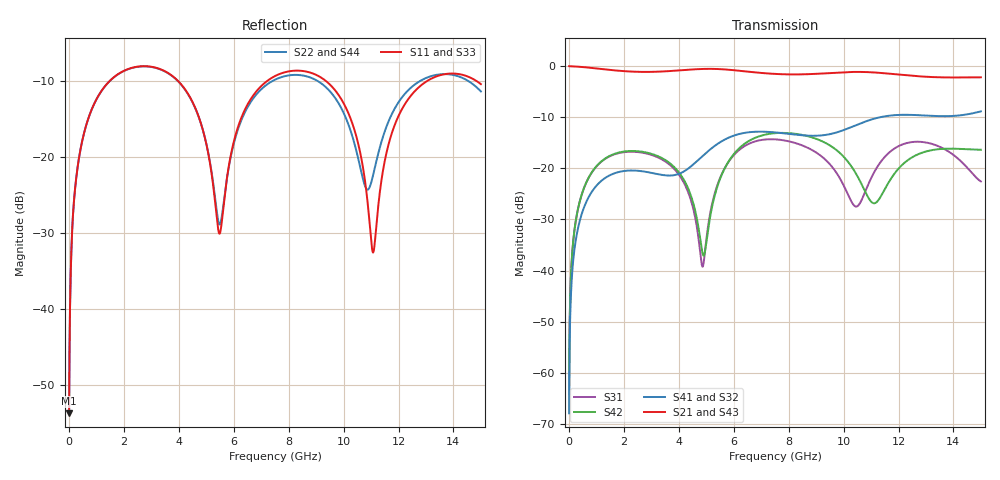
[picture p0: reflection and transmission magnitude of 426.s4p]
! Created with skrf 1.8.0 (http://scikit-rf.org).
# GHz S RI R 50.0
!freq ReS11 ImS11 ReS12 ImS12 ReS13 ImS13
! ReS14 ImS14
! ReS21 ImS21 ReS22 ImS22 ReS23 ImS23
! ReS24 ImS24
! ReS31 ImS31 ReS32 ImS32 ReS33 ImS33
! ReS34 ImS34
! ReS41 ImS41 ReS42 ImS42 ReS43 ImS43
! ReS44 ImS44
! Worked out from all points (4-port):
!   2499 points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, 5 MHz to 15 GHz, reference 50 ohm
!   strongest paths, dB at 5 MHz, 3.476 GHz, 7.19 GHz, 11.1 GHz, 15 GHz:
!     S21: 0.0, -1.0, -1.4, -1.2, -2.2
!     S43: 0.0, -1.0, -1.4, -1.2, -2.2
!     S41: -67.9, -21.4, -12.9, -10.3, -8.9
!     S32: -67.9, -21.4, -12.9, -10.3, -8.9
!     S42: -64.1, -18.3, -13.4, -26.8, -16.4
!     S31: -64.1, -18.6, -14.3, -20.9, -22.6
!   lowest |S11| = -53.7 dB at 5 MHz (marker M1), VSWR 1.00, Z = 50.2 + j0.125 ohm
!   |S11| at or under -10 dB: start of sweep to 1.47 GHz; 3.984 GHz to 7.201 GHz (3.217 GHz wide, 57.5 % of centre); 9.371 GHz to 13.02 GHz (3.653 GHz wide, 32.6 % of centre) (the widest 3 of 4)
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0.005  0.00164 0.00125  0.9983 -0.00319  8.12e-05 0.00062  -7.91e-05 -0.000393
       0.9983 -0.00319  0.00164 0.00125  -7.91e-05 -0.000393  8.13e-05 0.00062
       8.12e-05 0.00062  -7.91e-05 -0.000393  0.00164 0.00125  0.9983 -0.00319
       -7.91e-05 -0.000393  8.13e-05 0.00062  0.9983 -0.00319  0.00164 0.00125
0.3126303  0.024 0.0823  0.9673 -0.1986  0.0104 0.0369  -0.00885 -0.0231
           0.9673 -0.1986  0.024 0.0823  -0.00884 -0.0231  0.0107 0.0368
           0.0104 0.0369  -0.00884 -0.0231  0.024 0.0823  0.9673 -0.1986
           -0.00885 -0.0231  0.0107 0.0368  0.9673 -0.1986  0.024 0.0823
1.569404  0.2759 0.179  0.5414 -0.7353  0.1206 0.0592  -0.0874 -0.00525
          0.5414 -0.7353  0.2746 0.1799  -0.0874 -0.00532  0.1245 0.0538
          0.1206 0.0592  -0.0874 -0.00532  0.2759 0.1789  0.5414 -0.7353
          -0.0874 -0.00525  0.1245 0.0538  0.5414 -0.7353  0.2745 0.1799
5.314714  0.0327 -0.0403  -0.9265 -0.1473  -0.0107 0.0566  -0.0233 0.1647
          -0.9265 -0.1473  0.0377 -0.0403  -0.0243 0.1645  -0.00481 0.0549
          -0.0107 0.0566  -0.0243 0.1645  0.0327 -0.0394  -0.9266 -0.1469
          -0.0233 0.1647  -0.00481 0.0549  -0.9266 -0.1469  0.0374 -0.0395
8.516048  0.3651 -0.0592  0.0146 0.8307  0.163 -0.0346  0.1957 -0.0771
          0.0146 0.8307  0.3437 -0.0342  0.1955 -0.0747  0.1631 -0.1348
          0.163 -0.0346  0.1955 -0.0747  0.3685 -0.0601  0.0145 0.8295
          0.1957 -0.0771  0.1631 -0.1348  0.0145 0.8295  0.3461 -0.0333
11.07336  0.0236 -0.00144  0.8642 0.0803  0.0674 0.0556  0.0175 -0.3031
          0.8642 0.0803  0.0648 0.0397  0.022 -0.3026  -0.0378 0.0256
          0.0674 0.0556  0.022 -0.3026  0.0242 -0.00439  0.8641 0.0814
          0.0175 -0.3031  -0.0378 0.0256  0.8641 0.0814  0.0658 0.0365
15  0.2845 -0.1045  -0.3667 -0.6848  -0.0512 -0.0541  -0.3181 0.1705
    -0.3667 -0.6848  0.2544 -0.0939  -0.3208 0.1647  -0.0962 -0.1176
    -0.0512 -0.0541  -0.3208 0.1647  0.2925 -0.1074  -0.3637 -0.6835
    -0.3181 0.1705  -0.0962 -0.1176  -0.3637 -0.6835  0.2616 -0.098
